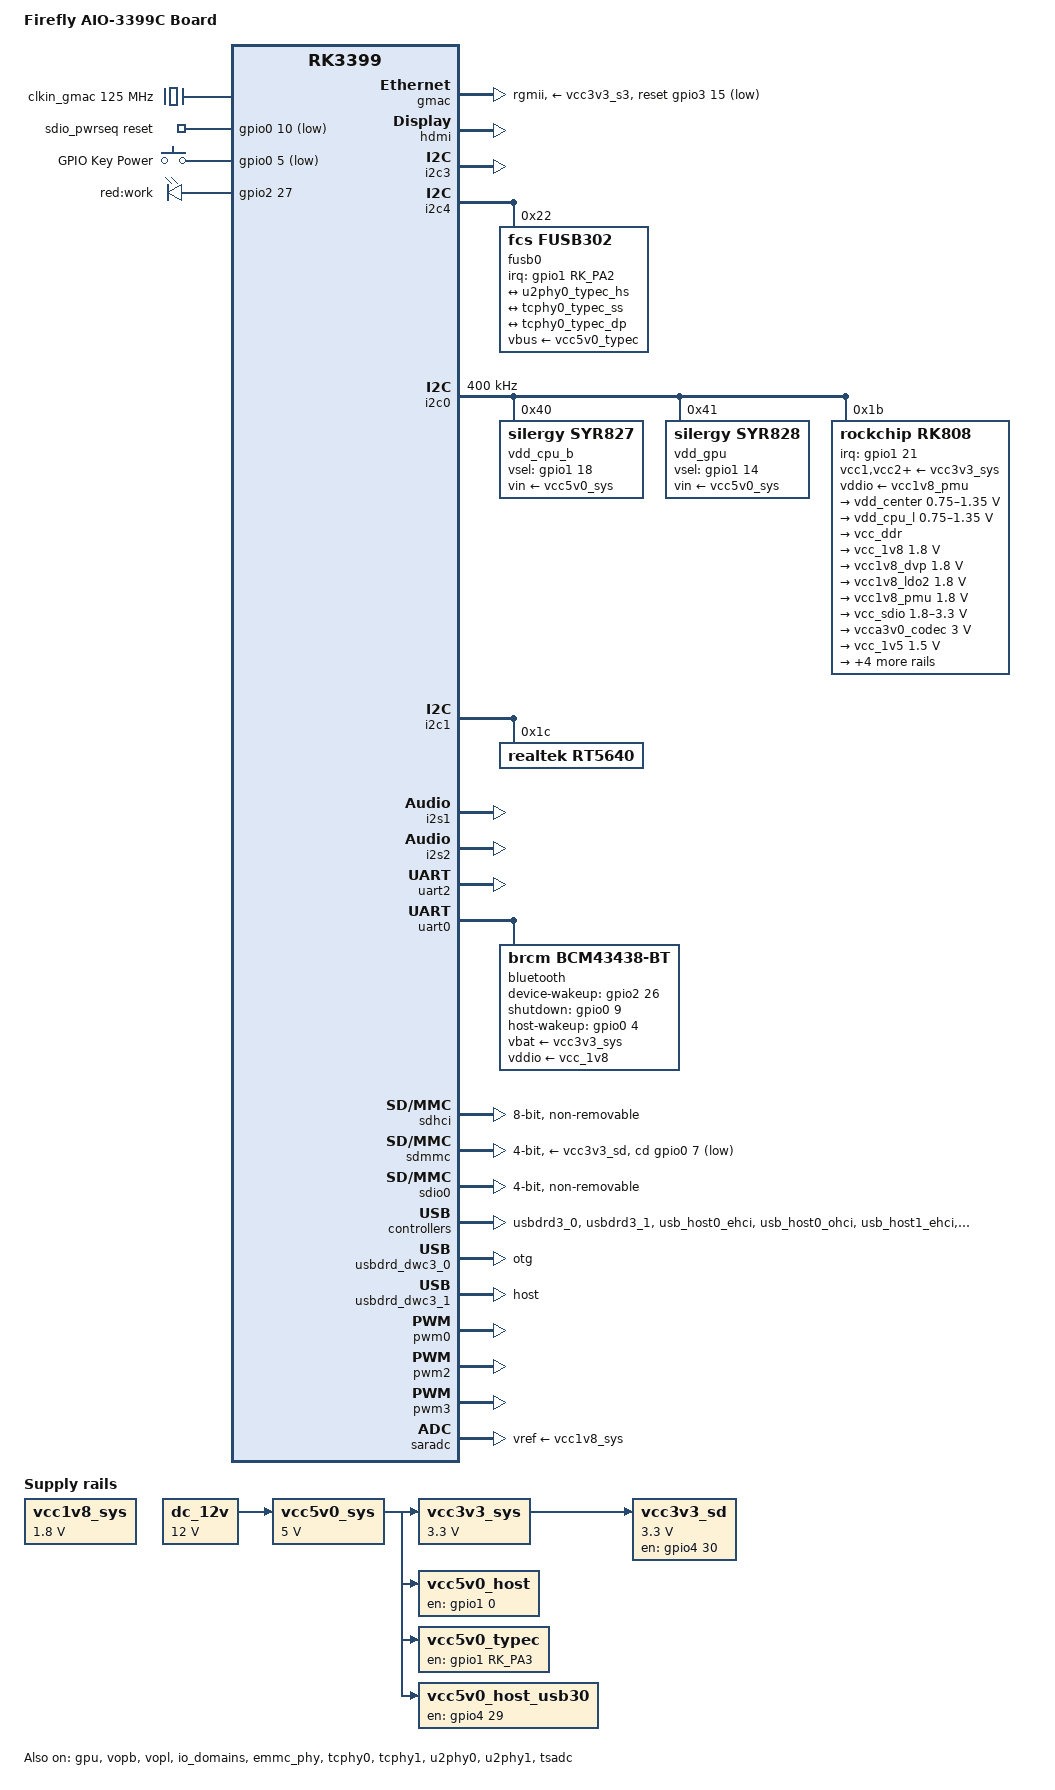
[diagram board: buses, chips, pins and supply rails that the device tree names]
// SPDX-License-Identifier: (GPL-2.0+ OR MIT)
/*
 * Copyright (c) 2016 Fuzhou Rockchip Electronics Co., Ltd
 * Copyright (c) 2025 flippy
 */

/dts-v1/;
#include <dt-bindings/input/linux-event-codes.h>
#include <dt-bindings/pwm/pwm.h>
#include <dt-bindings/interrupt-controller/irq.h>
#include <dt-bindings/gpio/gpio.h>
#include <dt-bindings/clock/rk3399-cru.h>
#include <dt-bindings/pinctrl/rockchip.h>
#include <dt-bindings/usb/pd.h>
#include "rk3399.dtsi"
#include "rk3399-op1.dtsi"

/ {
	model = "Firefly AIO-3399C Board";
	compatible = "firefly,aio-3399c", "rockchip,rk3399";

	aliases {
		ethernet0 = &gmac;
		mmc0 = &sdio0;
		mmc1 = &sdmmc;
		mmc2 = &sdhci;
	};

	chosen {
		stdout-path = "serial2:1500000n8";
	};

	/* --- Power Regulators --- */
	vcc1v8_sys: vcc1v8-sys {
		compatible = "regulator-fixed";
		regulator-name = "vcc1v8_sys";
		regulator-always-on;
		regulator-boot-on;
		regulator-min-microvolt = <1800000>;
		regulator-max-microvolt = <1800000>;
	};

	dc_12v: dc-12v {
		compatible = "regulator-fixed";
		regulator-name = "dc_12v";
		regulator-always-on;
		regulator-boot-on;
		regulator-min-microvolt = <12000000>;
		regulator-max-microvolt = <12000000>;
	};

	vcc5v0_sys: vcc5v0-sys {
		compatible = "regulator-fixed";
		regulator-name = "vcc5v0_sys";
		regulator-always-on;
		regulator-boot-on;
		regulator-min-microvolt = <5000000>;
		regulator-max-microvolt = <5000000>;
		vin-supply = <&dc_12v>;
	};

	vcc3v3_sys: vcc3v3-sys {
		compatible = "regulator-fixed";
		regulator-name = "vcc3v3_sys";
		regulator-always-on;
		regulator-boot-on;
		regulator-min-microvolt = <3300000>;
		regulator-max-microvolt = <3300000>;
		vin-supply = <&vcc5v0_sys>;
	};

	/* GPIO1_PA0 (0) */
	vcc5v0_host: vcc5v0-host-regulator {
		compatible = "regulator-fixed";
		enable-active-high;
		gpio = <&gpio1 0 GPIO_ACTIVE_HIGH>;
		pinctrl-names = "default";
		pinctrl-0 = <&vcc5v0_host_en>;
		regulator-name = "vcc5v0_host";
		vin-supply = <&vcc5v0_sys>;
	};

	/* vcc5v0_typec: Type-C VBUS power, GPIO1_PA3 (3) */
	vcc5v0_typec: vcc5v0-typec-regulator {
		compatible = "regulator-fixed";
		enable-active-high;
		gpio = <&gpio1 RK_PA3 GPIO_ACTIVE_HIGH>;
		pinctrl-names = "default";
		pinctrl-0 = <&vcc5v0_typec_en>;
		regulator-name = "vcc5v0_typec";
		regulator-always-on;
		vin-supply = <&vcc5v0_sys>;
	};

	/* GPIO4_PD5 (29) */
	vcc5v0_host_usb30: vcc5v0-host-usb30 {
		compatible = "regulator-fixed";
		enable-active-high;
		gpio = <&gpio4 29 GPIO_ACTIVE_HIGH>;
		pinctrl-names = "default";
		pinctrl-0 = <&vcc5v0_host_usb30_en>;
		regulator-name = "vcc5v0_host_usb30";
		regulator-always-on;
		vin-supply = <&vcc5v0_sys>;
	};

	/* GPIO4_PD6 (30) */
	vcc3v3_sd: vcc3v3-sd {
		compatible = "regulator-fixed";
		enable-active-high;
		gpio = <&gpio4 30 GPIO_ACTIVE_HIGH>;
		pinctrl-names = "default";
		pinctrl-0 = <&sdmmc0_pwr_h>;
		regulator-name = "vcc3v3_sd";
		regulator-always-on;
		regulator-min-microvolt = <3300000>;
		regulator-max-microvolt = <3300000>;
		vin-supply = <&vcc3v3_sys>;
	};

	clkin_gmac: external-gmac-clock {
		compatible = "fixed-clock";
		clock-frequency = <125000000>;
		clock-output-names = "clkin_gmac";
		#clock-cells = <0>;
	};

	sdio_pwrseq: sdio-pwrseq {
		compatible = "mmc-pwrseq-simple";
		clocks = <&rk808 1>;
		clock-names = "ext_clock";
		pinctrl-names = "default";
		pinctrl-0 = <&wifi_enable_h>;
		/* GPIO0_PB2 (10) */
		reset-gpios = <&gpio0 10 GPIO_ACTIVE_LOW>;
	};

	/* Audio */
	rt5640-sound {
		compatible = "simple-audio-card";
		simple-audio-card,name = "rockchip,rt5640-codec";
		simple-audio-card,format = "i2s";
		simple-audio-card,mclk-fs = <256>;

		simple-audio-card,widgets =
			"Microphone", "Mic Jack",
			"Headphone", "Headphone Jack";
		simple-audio-card,routing =
			"Mic Jack", "MICBIAS1",
			"IN1P", "Mic Jack",
			"Headphone Jack", "HPOL",
			"Headphone Jack", "HPOR";

		simple-audio-card,cpu {
			sound-dai = <&i2s1>;
		};
		simple-audio-card,codec {
			sound-dai = <&rt5640>;
		};
	};

	hdmi_sound: hdmi-sound {
		compatible = "simple-audio-card";
		simple-audio-card,format = "i2s";
		simple-audio-card,mclk-fs = <256>;
		simple-audio-card,name = "hdmi-sound";
		status = "okay";

		simple-audio-card,cpu {
			sound-dai = <&i2s2>;
		};
		simple-audio-card,codec {
			sound-dai = <&hdmi>;
		};
	};

	gpio-keys {
		compatible = "gpio-keys";
		autorepeat;
		pinctrl-names = "default";
		pinctrl-0 = <&power_key>;

		key-power {
			/* GPIO0_PA5 (5) */
			gpios = <&gpio0 5 GPIO_ACTIVE_LOW>;
			linux,code = <KEY_POWER>;
			label = "GPIO Key Power";
			debounce-interval = <100>;
			wakeup-source;
		};
	};

	leds {
		compatible = "gpio-leds";
		pinctrl-names = "default";
		pinctrl-0 = <&user_led0>;

		led-0 {
			label = "red:work";
			/* GPIO2_PD3 (27) */
			gpios = <&gpio2 27 GPIO_ACTIVE_HIGH>;
			default-state = "on";
		};
	};
};

/* --- CPU & GPU --- */
&cpu_l0 { cpu-supply = <&vdd_cpu_l>; };
&cpu_l1 { cpu-supply = <&vdd_cpu_l>; };
&cpu_l2 { cpu-supply = <&vdd_cpu_l>; };
&cpu_l3 { cpu-supply = <&vdd_cpu_l>; };
&cpu_b0 { cpu-supply = <&vdd_cpu_b>; };
&cpu_b1 { cpu-supply = <&vdd_cpu_b>; };

&gpu {
	mali-supply = <&vdd_gpu>;
	status = "okay";
};

/* --- Ethernet --- */
&gmac {
	phy-supply = <&vcc3v3_s3>;
	phy-mode = "rgmii";
	clock_in_out = "input";
	snps,force_thresh_dma_mode;
	/* GPIO3_PB7 (15) */
	snps,reset-gpio = <&gpio3 15 GPIO_ACTIVE_LOW>;
	snps,reset-active-low;
	snps,reset-delays-us = <0 10000 50000>;
	assigned-clocks = <&cru SCLK_RMII_SRC>;
	assigned-clock-parents = <&clkin_gmac>;
	pinctrl-names = "default";
	pinctrl-0 = <&rgmii_pins>;
	tx_delay = <0x2F>;
	rx_delay = <0x1E>;
	status = "okay";
};

&hdmi {
	avdd-0v9-supply = <&vcca0v9_codec>;
	avdd-1v8-supply = <&vcc1v8_ldo2>;
	ddc-i2c-bus = <&i2c3>;
	pinctrl-names = "default";
	pinctrl-0 = <&hdmi_cec>;
	status = "okay";
};

&i2c3 {
	i2c-scl-rising-time-ns = <450>;
	i2c-scl-falling-time-ns = <15>;
	status = "okay";
};

&i2c4 {
	i2c-scl-rising-time-ns = <600>;
	i2c-scl-falling-time-ns = <20>;
	status = "okay";

	fusb0: typec-portc@22 {
		compatible = "fcs,fusb302";
		reg = <0x22>;
		interrupt-parent = <&gpio1>;
		interrupts = <RK_PA2 IRQ_TYPE_LEVEL_LOW>;
		pinctrl-names = "default";
		pinctrl-0 = <&fusb0_int>;
		vbus-supply = <&vcc5v0_typec>;
		status = "okay";

		connector {
			compatible = "usb-c-connector";
			data-role = "dual";
			label = "USB-C";
			op-sink-microwatt = <1000000>;
			power-role = "dual";
			sink-pdos =
				<PDO_FIXED(5000, 2500, PDO_FIXED_USB_COMM)>;
			source-pdos =
				<PDO_FIXED(5000, 1400, PDO_FIXED_USB_COMM)>;
			try-power-role = "sink";

			ports {
				#address-cells = <1>;
				#size-cells = <0>;

				port@0 {
					reg = <0>;

					usbc_hs: endpoint {
						remote-endpoint =
							<&u2phy0_typec_hs>;
					};
				};

				port@1 {
					reg = <1>;

					usbc_ss: endpoint {
						remote-endpoint =
							<&tcphy0_typec_ss>;
					};
				};

				port@2 {
					reg = <2>;

					usbc_dp: endpoint {
						remote-endpoint =
							<&tcphy0_typec_dp>;
					};
				};
			};
		};
	};
};

&vopb {
	status = "okay";
};

&vopb_mmu {
	status = "okay";
};

&vopl {
	status = "okay";
};

&vopl_mmu {
	status = "okay";
};

/* --- PMIC & I2C --- */
&i2c0 {
	status = "okay";
	i2c-scl-rising-time-ns = <168>;
	i2c-scl-falling-time-ns = <4>;
	clock-frequency = <400000>;

	vdd_cpu_b: regulator@40 {
		compatible = "silergy,syr827";
		reg = <0x40>;
		vin-supply = <&vcc5v0_sys>;
		regulator-compatible = "fan53555-reg";
		regulator-name = "vdd_cpu_b";
		pinctrl-0 = <&vsel1_pin>;
		/* GPIO1_PC2 (18) */
		vsel-gpios = <&gpio1 18 GPIO_ACTIVE_HIGH>;
		regulator-min-microvolt = <712500>;
		regulator-max-microvolt = <1500000>;
		regulator-ramp-delay = <1000>;
		fcs,suspend-voltage-selector = <1>;
		regulator-always-on;
		regulator-boot-on;
		regulator-state-mem {
			regulator-off-in-suspend;
		};
	};

	vdd_gpu: regulator@41 {
		compatible = "silergy,syr828";
		reg = <0x41>;
		vin-supply = <&vcc5v0_sys>;
		regulator-compatible = "fan53555-reg";
		regulator-name = "vdd_gpu";
		pinctrl-0 = <&vsel2_pin>;
		/* GPIO1_PB6 (14) */
		vsel-gpios = <&gpio1 14 GPIO_ACTIVE_HIGH>;
		regulator-min-microvolt = <712500>;
		regulator-max-microvolt = <1500000>;
		regulator-ramp-delay = <1000>;
		fcs,suspend-voltage-selector = <1>;
		regulator-always-on;
		regulator-boot-on;
		regulator-state-mem {
			regulator-off-in-suspend;
		};
	};

	rk808: pmic@1b {
		compatible = "rockchip,rk808";
		reg = <0x1b>;
		interrupt-parent = <&gpio1>;
		/* GPIO1_PC5 (21) */
		interrupts = <21 IRQ_TYPE_LEVEL_LOW>;
		pinctrl-names = "default";
		pinctrl-0 = <&pmic_int_l>;
		rockchip,system-power-controller;
		wakeup-source;
		#clock-cells = <1>;
		clock-output-names = "xin32k", "rk808-clkout2";

		vcc1-supply = <&vcc3v3_sys>;
		vcc2-supply = <&vcc3v3_sys>;
		vcc3-supply = <&vcc3v3_sys>;
		vcc4-supply = <&vcc3v3_sys>;
		vcc6-supply = <&vcc3v3_sys>;
		vcc7-supply = <&vcc3v3_sys>;
		vcc8-supply = <&vcc3v3_sys>;
		vcc9-supply = <&vcc3v3_sys>;
		vcc10-supply = <&vcc3v3_sys>;
		vcc11-supply = <&vcc3v3_sys>;
		vcc12-supply = <&vcc3v3_sys>;
		vddio-supply = <&vcc1v8_pmu>;

		regulators {
			vdd_center: DCDC_REG1 {
				regulator-always-on;
				regulator-boot-on;
				regulator-min-microvolt = <750000>;
				regulator-max-microvolt = <1350000>;
				regulator-ramp-delay = <6001>;
				regulator-name = "vdd_center";
				regulator-state-mem {
					regulator-off-in-suspend;
				};
			};

			vdd_cpu_l: DCDC_REG2 {
				regulator-always-on;
				regulator-boot-on;
				regulator-min-microvolt = <750000>;
				regulator-max-microvolt = <1350000>;
				regulator-ramp-delay = <6001>;
				regulator-name = "vdd_cpu_l";
				regulator-state-mem {
					regulator-off-in-suspend;
				};
			};

			vcc_ddr: DCDC_REG3 {
				regulator-always-on;
				regulator-boot-on;
				regulator-name = "vcc_ddr";
				regulator-state-mem {
					regulator-on-in-suspend;
				};
			};

			vcc_1v8: DCDC_REG4 {
				regulator-always-on;
				regulator-boot-on;
				regulator-min-microvolt = <1800000>;
				regulator-max-microvolt = <1800000>;
				regulator-name = "vcc_1v8";
				regulator-state-mem {
					regulator-on-in-suspend;
					regulator-suspend-microvolt = <1800000>;
				};
			};

			vcc1v8_dvp: LDO_REG1 {
				regulator-always-on;
				regulator-boot-on;
				regulator-min-microvolt = <1800000>;
				regulator-max-microvolt = <1800000>;
				regulator-name = "vcc1v8_dvp";
				regulator-state-mem {
					regulator-off-in-suspend;
				};
			};

			vcc1v8_ldo2: LDO_REG2 {
				regulator-always-on;
				regulator-boot-on;
				regulator-min-microvolt = <1800000>;
				regulator-max-microvolt = <1800000>;
				regulator-name = "vcc1v8_ldo2";
				regulator-state-mem {
					regulator-off-in-suspend;
				};
			};

			vcc1v8_pmu: LDO_REG3 {
				regulator-always-on;
				regulator-boot-on;
				regulator-min-microvolt = <1800000>;
				regulator-max-microvolt = <1800000>;
				regulator-name = "vcc1v8_pmu";
				regulator-state-mem {
					regulator-on-in-suspend;
					regulator-suspend-microvolt = <1800000>;
				};
			};

			vcc_sdio: LDO_REG4 {
				regulator-always-on;
				regulator-boot-on;
				regulator-min-microvolt = <1800000>;
				regulator-max-microvolt = <3300000>;
				regulator-name = "vcc_sdio";
				regulator-state-mem {
					regulator-on-in-suspend;
					regulator-suspend-microvolt = <3000000>;
				};
			};

			vcca3v0_codec: LDO_REG5 {
				regulator-always-on;
				regulator-boot-on;
				regulator-min-microvolt = <3000000>;
				regulator-max-microvolt = <3000000>;
				regulator-name = "vcca3v0_codec";
				regulator-state-mem {
					regulator-off-in-suspend;
				};
			};

			vcc_1v5: LDO_REG6 {
				regulator-always-on;
				regulator-boot-on;
				regulator-min-microvolt = <1500000>;
				regulator-max-microvolt = <1500000>;
				regulator-name = "vcc_1v5";
				regulator-state-mem {
					regulator-on-in-suspend;
					regulator-suspend-microvolt = <1500000>;
				};
			};

			vcca0v9_codec: LDO_REG7 {
				regulator-always-on;
				regulator-boot-on;
				regulator-min-microvolt = <900000>;
				regulator-max-microvolt = <900000>;
				regulator-name = "vcca0v9_codec";
				regulator-state-mem {
					regulator-off-in-suspend;
				};
			};

			vcc_3v0: LDO_REG8 {
				regulator-always-on;
				regulator-boot-on;
				regulator-min-microvolt = <3000000>;
				regulator-max-microvolt = <3000000>;
				regulator-name = "vcc_3v0";
				regulator-state-mem {
					regulator-on-in-suspend;
					regulator-suspend-microvolt = <3000000>;
				};
			};

			vcc3v3_s3: SWITCH_REG1 {
				regulator-always-on;
				regulator-boot-on;
				regulator-name = "vcc3v3_s3";
				regulator-state-mem {
					regulator-off-in-suspend;
				};
			};

			vcc3v3_s0: SWITCH_REG2 {
				regulator-always-on;
				regulator-boot-on;
				regulator-name = "vcc3v3_s0";
				regulator-state-mem {
					regulator-off-in-suspend;
				};
			};
		};
	};
};

&i2c1 {
	status = "okay";
	i2c-scl-rising-time-ns = <300>;
	i2c-scl-falling-time-ns = <15>;

	rt5640: rt5640@1c {
		compatible = "realtek,rt5640";
		reg = <0x1c>;
		clocks = <&cru SCLK_I2S_8CH_OUT>;
		clock-names = "mclk";
		realtek,in1-differential;
		#sound-dai-cells = <0>;
	};
};

&i2s1 {
	rockchip,i2s-broken-burst-len;
	rockchip,playback-channels = <2>;
	rockchip,capture-channels = <2>;
	#sound-dai-cells = <0>;
	status = "okay";
};

&i2s2 {
	#sound-dai-cells = <0>;
	status = "okay";
};

&io_domains {
	status = "okay";
	bt656-supply = <&vcc_3v0>;
	audio-supply = <&vcca0v9_codec>;
	sdmmc-supply = <&vcc_sdio>;
	gpio1830-supply = <&vcc_3v0>;
};

&pmu_io_domains {
	status = "okay";
	pmu1830-supply = <&vcc_3v0>;
};

&uart2 {
	status = "okay";
};

&uart0 {
	pinctrl-names = "default";
	pinctrl-0 = <&uart0_xfer &uart0_cts &uart0_rts>;
	uart-has-rtscts;
	status = "okay";

	bluetooth {
		compatible = "brcm,bcm43438-bt";
		clocks = <&rk808 1>;
		clock-names = "ext_clock";
		/* GPIO2_PD2 (26) - Device Wake */
		device-wakeup-gpios = <&gpio2 26 GPIO_ACTIVE_HIGH>;
		/* GPIO0_PB1 (9) - Shutdown */
		shutdown-gpios = <&gpio0 9 GPIO_ACTIVE_HIGH>;
		/* GPIO0_PA4 (4) - Host Wake */
		host-wakeup-gpios = <&gpio0 4 GPIO_ACTIVE_HIGH>;
		max-speed = <3000000>;
		vbat-supply = <&vcc3v3_sys>;
		vddio-supply = <&vcc_1v8>;
	};
};

&emmc_phy {
	status = "okay";
};

&sdhci {
	bus-width = <8>;
	mmc-hs400-1_8v;
	mmc-hs400-enhanced-strobe;
	supports-emmc;
	non-removable;
	keep-power-in-suspend;
	status = "okay";
};

&sdmmc {
	clock-frequency = <150000000>;
	bus-width = <4>;
	cap-mmc-highspeed;
	cap-sd-highspeed;
	disable-wp;
	sd-uhs-sdr104;
	vmmc-supply = <&vcc3v3_sd>;
	vqmmc-supply = <&vcc_sdio>;
	/* GPIO0_PA7 (7) */
	cd-gpios = <&gpio0 7 GPIO_ACTIVE_LOW>;
	pinctrl-names = "default";
	pinctrl-0 = <&sdmmc_clk &sdmmc_cmd &sdmmc_cd &sdmmc_bus4>;
	status = "okay";
};

&sdio0 {
	clock-frequency = <50000000>;
	bus-width = <4>;
	cap-sd-highspeed;
	cap-sdio-irq;
	keep-power-in-suspend;
	mmc-pwrseq = <&sdio_pwrseq>;
	non-removable;
	pinctrl-names = "default";
	pinctrl-0 = <&sdio0_bus4 &sdio0_cmd &sdio0_clk>;
	sd-uhs-sdr104;
	status = "okay";
};

&tcphy0 {
	status = "okay";
};

&tcphy0_dp {
	port {
		tcphy0_typec_dp: endpoint {
			remote-endpoint = <&usbc_dp>;
		};
	};
};

&tcphy0_usb3 {
	port {
		tcphy0_typec_ss: endpoint {
			remote-endpoint = <&usbc_ss>;
		};
	};
};

&tcphy1 {
	status = "okay";
};

&u2phy0 {
	status = "okay";

	u2phy0_otg: otg-port {
		status = "okay";
	};

	u2phy0_host: host-port {
		phy-supply = <&vcc5v0_host>;
		status = "okay";
	};

	port {
		u2phy0_typec_hs: endpoint {
			remote-endpoint = <&usbc_hs>;
		};
	};
};

&u2phy1 {
	status = "okay";

	u2phy1_otg: otg-port {
		status = "okay";
	};

	u2phy1_host: host-port {
		phy-supply = <&vcc5v0_host>;
		status = "okay";
	};
};

&usbdrd3_0 {
	status = "okay";
};

&usbdrd_dwc3_0 {
	status = "okay";
	dr_mode = "otg";
};

&usbdrd3_1 {
	status = "okay";
};

&usbdrd_dwc3_1 {
	status = "okay";
	dr_mode = "host";
};

&usb_host0_ehci { status = "okay"; };
&usb_host0_ohci { status = "okay"; };
&usb_host1_ehci { status = "okay"; };
&usb_host1_ohci { status = "okay"; };

&pwm0 { status = "okay"; };
&pwm2 { status = "okay"; };
&pwm3 { status = "okay"; };

&tsadc {
	rockchip,hw-tshut-mode = <1>;
	rockchip,hw-tshut-polarity = <1>;
	status = "okay";
};

&saradc {
	vref-supply = <&vcc1v8_sys>;
	status = "okay";
};

&pinctrl {
	pinctrl-names = "default";
	pinctrl-0 = <&host_hub_vcc>;

    gmac {
		rgmii_phy_reset: rgmii-phy-reset {
			rockchip,pins = <3 15 RK_FUNC_GPIO &pcfg_output_low>;
		};
	};

	host-hub-vcc {
		host_hub_vcc: host-hub-vcc {
			/* GPIO1_PC7 (23), GPIO2_PA4 (4) */
			rockchip,pins = <1 23 RK_FUNC_GPIO &pcfg_output_high>,
					<2 4 RK_FUNC_GPIO &pcfg_output_high>;
		};
	};

	usb2 {
		vcc5v0_host_en: vcc5v0-host-en {
			/* GPIO1_PA0 (0) */
			rockchip,pins = <1 0 RK_FUNC_GPIO &pcfg_pull_none>;
		};
	};

	usb3 {
		vcc5v0_host_usb30_en: vcc5v0-host-usb30-en {
			/* GPIO4_PD5 (29) */
			rockchip,pins = <4 29 RK_FUNC_GPIO &pcfg_pull_none>;
		};
	};

	sd {
		sdmmc0_pwr_h: sdmmc0-pwr-h {
			/* GPIO4_PD6 (30) */
			rockchip,pins = <4 30 RK_FUNC_GPIO &pcfg_pull_up>;
		};
	};

	sdio-pwrseq {
		wifi_enable_h: wifi-enable-h {
			/* GPIO0_PB2 (10) */
			rockchip,pins = <0 10 RK_FUNC_GPIO &pcfg_pull_none>;
		};
		wifi_host_wake_l: wifi-host-wake-l {
			/* GPIO0_PA3 (3) */
			rockchip,pins = <0 3 RK_FUNC_GPIO &pcfg_pull_down>;
		};
	};

	usb-typec {
		vcc5v0_typec_en: vcc5v0-typec-en {
			rockchip,pins = <1 RK_PA3 RK_FUNC_GPIO &pcfg_pull_up>;
		};
	};

	fusb302x {
		fusb0_int: fusb0-int {
			rockchip,pins = <1 RK_PA2 RK_FUNC_GPIO &pcfg_pull_up>;
		};
	};

	pmic {
		pmic_int_l: pmic-int-l {
			rockchip,pins = <1 RK_PC5 RK_FUNC_GPIO &pcfg_pull_up>;
		};
		vsel1_pin: vsel1-pin {
			rockchip,pins = <1 RK_PC2 RK_FUNC_GPIO &pcfg_pull_down>;
		};
		vsel2_pin: vsel2-pin {
			rockchip,pins = <1 RK_PB6 RK_FUNC_GPIO &pcfg_pull_down>;
		};
	};

	rockchip-key {
		power_key: power-key {
			/* GPIO0_PA5 (5) */
			rockchip,pins = <0 5 RK_FUNC_GPIO &pcfg_pull_up>;
		};
	};

	leds {
		user_led0: user-led0 {
			/* GPIO2_PD3 (27) */
			rockchip,pins = <2 27 RK_FUNC_GPIO &pcfg_pull_none>;
		};
	};
};
